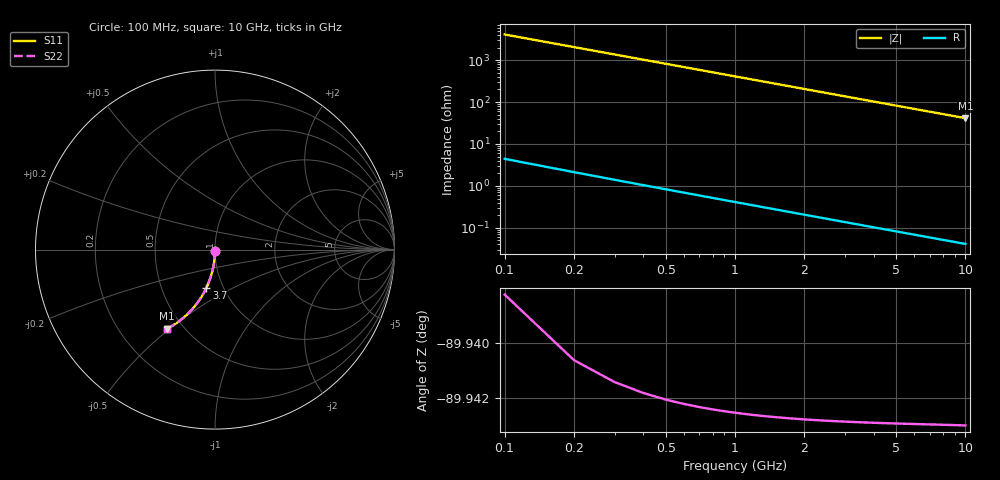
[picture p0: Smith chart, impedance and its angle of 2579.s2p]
# Hz S RI R 50.00
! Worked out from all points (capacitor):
!   100 points, 100 MHz to 10 GHz, reference 50 ohm
!   read as one part in shunt: C = 387 fF near 100 MHz
!   lowest |Z| = 41.4 ohm at 10 GHz (marker M1)
!   S11 on the Smith chart (normalised r, x): 100 MHz: 1.00, -0.01; 3.7 GHz: 0.83, -0.37; 10 GHz: 0.41, -0.49
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1e8  -3.98e-05 -0.00607  1 -0.00609  1 -0.00609  -3.98e-05 -0.00607
2e8  -0.000157 -0.0121  0.9998 -0.0122  0.9998 -0.0122  -0.000157 -0.0121
3e8  -0.000348 -0.0182  0.9996 -0.0183  0.9996 -0.0183  -0.000348 -0.0182
4e8  -0.000612 -0.0243  0.9994 -0.0243  0.9994 -0.0243  -0.000612 -0.0243
5e8  -0.000951 -0.0303  0.999 -0.0304  0.999 -0.0304  -0.000951 -0.0303
6e8  -0.00136 -0.0364  0.9986 -0.0365  0.9986 -0.0365  -0.00136 -0.0364
7e8  -0.00185 -0.0424  0.9981 -0.0425  0.9981 -0.0425  -0.00185 -0.0424
8e8  -0.00241 -0.0485  0.9976 -0.0486  0.9976 -0.0486  -0.00241 -0.0485
9e8  -0.00304 -0.0545  0.997 -0.0546  0.997 -0.0546  -0.00304 -0.0545
1.1e9  -0.00452 -0.0665  0.9955 -0.0667  0.9955 -0.0667  -0.00452 -0.0665
1.4e9  -0.00727 -0.0844  0.9927 -0.0846  0.9927 -0.0846  -0.00727 -0.0844
1.8e9  -0.0119 -0.1079  0.9881 -0.1082  0.9881 -0.1082  -0.0119 -0.1079
2.1e9  -0.0161 -0.1254  0.9838 -0.1257  0.9838 -0.1257  -0.0161 -0.1254
2.5e9  -0.0227 -0.1482  0.9773 -0.1486  0.9773 -0.1486  -0.0227 -0.1482
2.9e9  -0.0302 -0.1705  0.9697 -0.171  0.9697 -0.171  -0.0302 -0.1705
3.4e9  -0.041 -0.1976  0.9589 -0.1982  0.9589 -0.1982  -0.041 -0.1976
3.7e9  -0.0482 -0.2134  0.9518 -0.214  0.9518 -0.214  -0.0482 -0.2134
4.4e9  -0.0667 -0.2487  0.9333 -0.2494  0.9333 -0.2494  -0.0667 -0.2487
5.1e9  -0.0875 -0.2816  0.9125 -0.2825  0.9125 -0.2825  -0.0875 -0.2816
6.7e9  -0.1415 -0.3475  0.8585 -0.3486  0.8585 -0.3486  -0.1415 -0.3475
8.4e9  -0.2052 -0.4027  0.7948 -0.4041  0.7948 -0.4041  -0.2052 -0.4027
1e10  -0.2674 -0.4413  0.7326 -0.4429  0.7326 -0.4429  -0.2674 -0.4413
